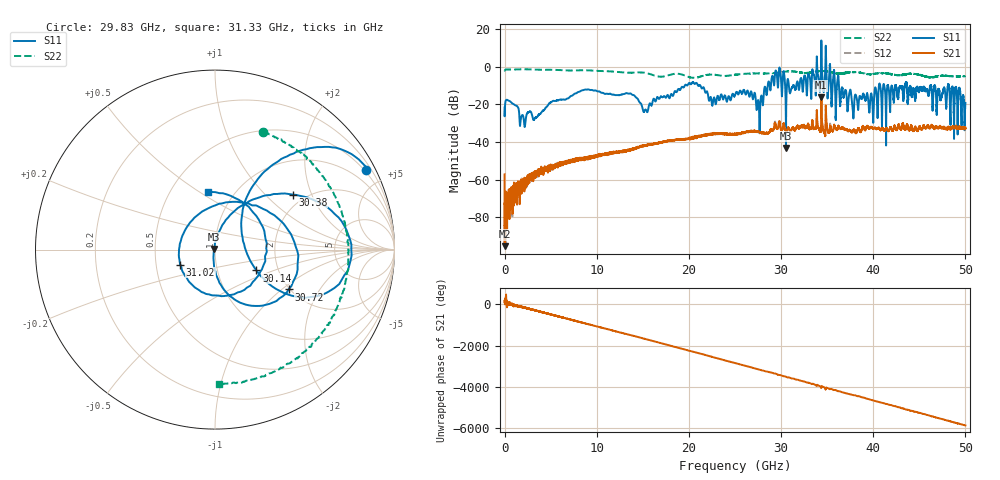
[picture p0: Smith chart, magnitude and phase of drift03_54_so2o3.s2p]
!Created with skrf (http://scikit-rf.org).
# Hz S RI R 50.0
!freq ReS11 ImS11 ReS21 ImS21 ReS12 ImS12 ReS22 ImS22
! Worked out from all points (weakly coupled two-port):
!   10001 points, 300 kHz to 50 GHz, reference 50 ohm
!   highest |S21| = -16.28 dB at 34.37 GHz (marker M1); lowest = -95.4 dB at 5.3 MHz (marker M2)
!   lowest |S11| = -43.1 dB at 30.53 GHz (marker M3), VSWR 1.01, Z = 49.4 + j0.354 ohm
!   |S11| at or under -10 dB: start of sweep to 19.55 GHz; 21.25 GHz to 28.55 GHz (7.296 GHz wide, 29.3 % of centre); 36.28 GHz to 40.62 GHz (4.337 GHz wide, 11.3 % of centre) (the widest 3 of 45)
!   |S22| runs from -5.9 to -1.3 dB; largest |S21 - S12| = 0.029
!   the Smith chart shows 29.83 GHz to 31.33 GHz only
!   S11 on the Smith chart (normalised r, x): 29.83 GHz: 0.43, +4.03; 30.14 GHz: 1.54, -0.38; 30.38 GHz: 1.73, +1.48; 30.72 GHz: 1.97, -1.12; 31.02 GHz: 0.67, -0.12; 31.33 GHz: 0.75, +0.54
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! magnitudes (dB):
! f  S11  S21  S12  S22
! 300 kHz  -21.7  -57.2  -71.3  -2.0
! 5.3 MHz  -26.3  -95.4  -71.2  -2.1
! 255.3 MHz  -17.6  -75.5  -73.0  -1.4
! 3.305 GHz  -27.2  -56.8  -57.6  -1.5
! 8.335 GHz  -12.7  -49.4  -49.1  -1.9
! 15.29 GHz  -22.8  -42.0  -41.9  -3.3
! 16.67 GHz  -16.5  -40.3  -40.3  -5.2
! 20.26 GHz  -9.1  -38.0  -38.0  -5.8
! 25 GHz  -15.3  -35.9  -35.8  -4.3
! 27.53 GHz  -17.9  -34.6  -34.6  -3.5
! 29.83 GHz  -0.4  -29.4  -28.6  -3.0
! 30.14 GHz  -11.8  -33.4  -33.4  -2.8
! 30.38 GHz  -5.5  -32.1  -32.4  -2.6
! 30.53 GHz  -43.1  -34.0  -34.1  -2.6
! 30.72 GHz  -6.6  -32.9  -32.7  -2.5
! 31.02 GHz  -13.5  -34.4  -34.2  -2.4
! 31.33 GHz  -9.8  -32.5  -32.4  -2.5
! 33.34 GHz  -7.4  -31.2  -31.1  -2.9
! 34.37 GHz  14.0  -16.3  -17.7  -2.3
! 37.86 GHz  -27.4  -33.7  -34.1  -2.8
! 41.67 GHz  -11.4  -34.3  -34.0  -3.7
! 50 GHz  -19.2  -32.7  -33.0  -5.0
